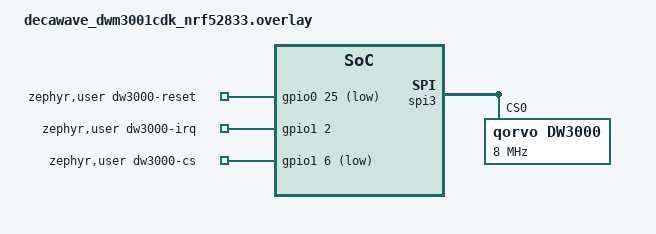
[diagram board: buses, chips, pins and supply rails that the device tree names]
#include <zephyr/dt-bindings/gpio/gpio.h>

/ {
    zephyr,user {
        /*
         * Internal DWM3001-CDK nRF52833-to-DW3110 connections.
         */
        dw3000-reset-gpios = <&gpio0 25 GPIO_ACTIVE_LOW>;
        dw3000-irq-gpios   = <&gpio1 2 GPIO_ACTIVE_HIGH>;
        dw3000-cs-gpios    = <&gpio1 6 GPIO_ACTIVE_LOW>;
    };
};

&spi3 {
    status = "okay";

    dw3000: dw3000@0 {
        compatible = "qorvo,dw3000";
        reg = <0>;
        spi-max-frequency = <8000000>;
        status = "okay";
    };
};
